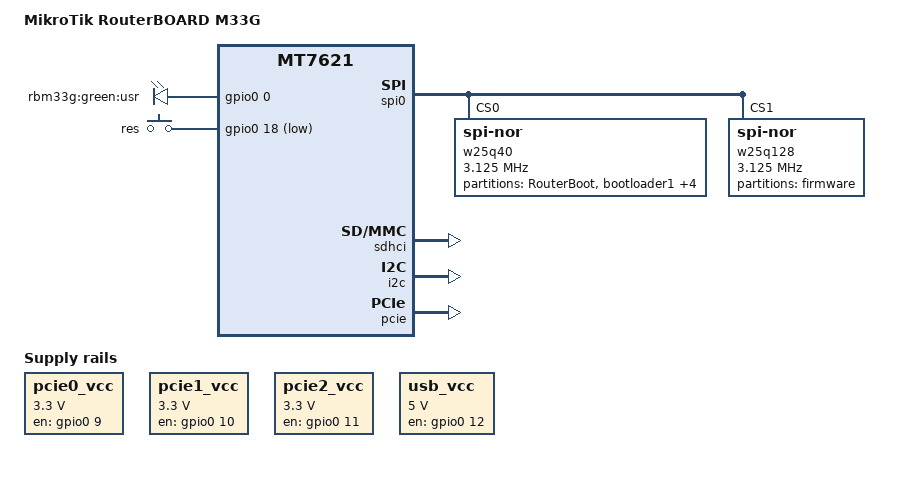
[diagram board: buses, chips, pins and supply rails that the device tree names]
/dts-v1/;

#include "mt7621.dtsi"

#include <dt-bindings/input/input.h>
#include <dt-bindings/gpio/gpio.h>

/ {
	compatible = "mikrotik,rbm33g", "mediatek,mt7621-soc";
	model = "MikroTik RouterBOARD M33G";

	aliases {
		led-boot = &led_usr;
		led-failsafe = &led_usr;
		led-running = &led_usr;
		led-upgrade = &led_usr;
	};

	chosen {
		bootargs = "console=ttyS0,115200";
	};

	leds {
		compatible = "gpio-leds";

		led_usr: usr {
			label = "rbm33g:green:usr";
			gpios = <&gpio0 0 GPIO_ACTIVE_HIGH>;
		};
	};

	keys {
		compatible = "gpio-keys";

		res {
			label = "res";
			gpios = <&gpio0 18 GPIO_ACTIVE_LOW>;
			linux,code = <KEY_RESTART>;
		};
	};

	pcie0_vcc_reg {
		compatible = "regulator-fixed";
		regulator-name = "pcie0_vcc";

		regulator-min-microvolt = <3300000>;
		regulator-max-microvolt = <3300000>;
		gpio = <&gpio0 9 GPIO_ACTIVE_HIGH>;
		enable-active-high;
		regulator-boot-on;
		regulator-always-on;
	};

	pcie1_vcc_reg {
		compatible = "regulator-fixed";
		regulator-name = "pcie1_vcc";

		regulator-min-microvolt = <3300000>;
		regulator-max-microvolt = <3300000>;
		gpio = <&gpio0 10 GPIO_ACTIVE_HIGH>;
		enable-active-high;
		regulator-boot-on;
		regulator-always-on;
	};

	pcie2_vcc_reg {
		compatible = "regulator-fixed";
		regulator-name = "pcie2_vcc";

		regulator-min-microvolt = <3300000>;
		regulator-max-microvolt = <3300000>;
		gpio = <&gpio0 11 GPIO_ACTIVE_HIGH>;
		enable-active-high;
		regulator-boot-on;
		regulator-always-on;
	};

	usb_vcc_reg {
		compatible = "regulator-fixed";
		regulator-name = "usb_vcc";

		regulator-min-microvolt = <5000000>;
		regulator-max-microvolt = <5000000>;
		gpio = <&gpio0 12 GPIO_ACTIVE_HIGH>;
		enable-active-high;
		regulator-always-on;
	};
};

&spi0 {
	status = "okay";

	w25q40@0 {
		compatible = "jedec,spi-nor";
		reg = <0>;
		spi-max-frequency = <3125000>;

		partitions {
			compatible = "fixed-partitions";
			#address-cells = <1>;
			#size-cells = <1>;

			partition@0 {
				label = "RouterBoot";
				reg = <0x0 0x40000>;
				read-only;
				compatible = "fixed-partitions";
				#address-cells = <1>;
				#size-cells = <1>;

				partition@0 {
					label = "bootloader1";
					reg = <0x0 0xf000>;
					read-only;
				};

				hard_config: partition@f000 {
					label = "hard_config";
					reg = <0xf000 0x1000>;
					read-only;
				};

				partition@10000 {
					label = "bootloader2";
					reg = <0x10000 0xf000>;
					read-only;
				};

				partition@20000 {
					label = "soft_config";
					reg = <0x20000 0x1000>;
				};

				partition@30000 {
					label = "bios";
					reg = <0x30000 0x1000>;
					read-only;
				};
			};
		};
	};

	w25q128@1 {
		compatible = "jedec,spi-nor";
		reg = <1>;
		// XXX empiric value to obtain actual 10MHz SCK at the chip
		spi-max-frequency = <3125000>;

		partitions {
			compatible = "fixed-partitions";
			#address-cells = <1>;
			#size-cells = <1>;

			// Region <0x0 0x40000> seems reserved by OEM

			partition@40000 {
				compatible = "mikrotik,minor";
				label = "firmware";
				reg = <0x040000 0xFC0000>;
			};
		};
	};
};

&ethernet {
	mtd-mac-address = <&hard_config 0x0010>;
	mtd-mac-address-increment = <1>;
};

&pinctrl {
	state_default: pinctrl0 {
		gpio {
			ralink,group = "uart2", "wdt";
			ralink,function = "gpio";
		};
	};
};

&sdhci {
	status = "okay";
};

&i2c {
	status = "okay";
};

&pcie {
	status = "okay";
};
